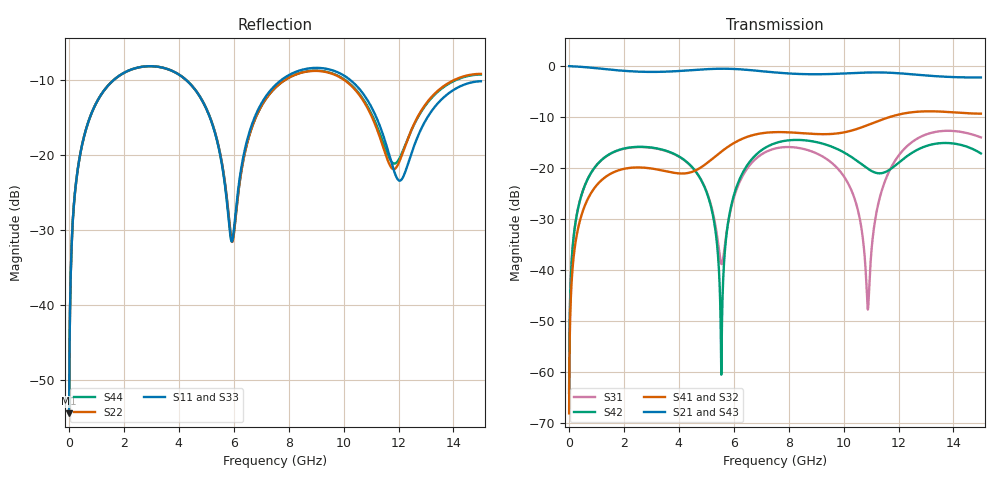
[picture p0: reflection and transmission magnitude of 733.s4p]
! Created with skrf 1.8.0 (http://scikit-rf.org).
# GHz S RI R 50.0
!freq ReS11 ImS11 ReS12 ImS12 ReS13 ImS13
! ReS14 ImS14
! ReS21 ImS21 ReS22 ImS22 ReS23 ImS23
! ReS24 ImS24
! ReS31 ImS31 ReS32 ImS32 ReS33 ImS33
! ReS34 ImS34
! ReS41 ImS41 ReS42 ImS42 ReS43 ImS43
! ReS44 ImS44
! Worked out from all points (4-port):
!   2499 points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, 5 MHz to 15 GHz, reference 50 ohm
!   strongest paths, dB at 5 MHz, 3.476 GHz, 7.19 GHz, 11.1 GHz, 15 GHz:
!     S21: 0.0, -1.1, -1.1, -1.2, -2.2
!     S43: 0.0, -1.1, -1.1, -1.3, -2.2
!     S41: -68.2, -20.6, -13.1, -11.1, -9.3
!     S32: -68.2, -20.6, -13.1, -11.1, -9.4
!     S42: -64.2, -16.5, -15.9, -20.8, -17.2
!     S31: -64.2, -16.6, -16.8, -32.1, -14.0
!   lowest |S11| = -54.4 dB at 5 MHz (marker M1), VSWR 1.00, Z = 50.2 + j0.115 ohm
!   |S11| at or under -10 dB: start of sweep to 1.624 GHz; 4.271 GHz to 7.729 GHz (3.458 GHz wide, 57.6 % of centre); 10.25 GHz to end of sweep
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0.005  0.00151 0.00115  0.9985 -0.00294  7.6e-05 0.000614  -7.38e-05 -0.000382
       0.9985 -0.00294  0.00151 0.00115  -7.38e-05 -0.000382  7.6e-05 0.000614
       7.6e-05 0.000614  -7.38e-05 -0.000382  0.00151 0.00115  0.9985 -0.00294
       -7.38e-05 -0.000382  7.6e-05 0.000614  0.9985 -0.00294  0.00151 0.00115
1.569404  0.2485 0.1849  0.5944 -0.7018  0.122 0.0698  -0.0882 -0.0135
          0.5944 -0.7018  0.2482 0.1851  -0.0881 -0.0136  0.1233 0.0683
          0.122 0.0698  -0.0881 -0.0136  0.2487 0.1848  0.5943 -0.7018
          -0.0882 -0.0135  0.1233 0.0683  0.5943 -0.7018  0.2481 0.1852
5.546061  0.0424 -0.081  -0.9029 -0.2704  -0.0111 -0.00254  -0.0359 0.1399
          -0.9029 -0.2704  0.043 -0.0827  -0.0382 0.1393  0.000926 -0.000114
          -0.0111 -0.00254  -0.0382 0.1393  0.0418 -0.0816  -0.9029 -0.2702
          -0.0359 0.1399  0.000926 -0.000114  -0.9029 -0.2702  0.0438 -0.0828
6.421426  0.0592 0.0955  -0.9031 0.1852  0.0349 0.0857  0.0561 0.1907
          -0.9031 0.1852  0.0565 0.0909  0.0531 0.1914  0.06 0.0793
          0.0349 0.0857  0.0531 0.1914  0.0588 0.0959  -0.903 0.1856
          0.0561 0.1907  0.06 0.0793  -0.903 0.1856  0.057 0.0905
9.272614  0.3756 -0.0498  0.029 0.8324  0.1163 -0.053  0.2042 -0.0655
          0.029 0.8324  0.359 -0.0337  0.2043 -0.0598  0.1154 -0.1277
          0.1163 -0.053  0.2043 -0.0598  0.3787 -0.0521  0.0296 0.8313
          0.2042 -0.0655  0.1154 -0.1277  0.0296 0.8313  0.361 -0.032
10.88579  0.1622 -0.1629  0.6529 0.5674  -0.00386 -0.00127  0.1647 -0.2062
          0.6529 0.5674  0.1578 -0.1291  0.1713 -0.2004  -0.0706 -0.0681
          -0.00386 -0.00127  0.1713 -0.2004  0.1624 -0.1689  0.6519 0.5667
          0.1647 -0.2062  -0.0706 -0.0681  0.6519 0.5667  0.1646 -0.1298
15  0.3106 0.0115  0.1366 -0.7612  0.1417 -0.1404  -0.3413 0.00143
    0.1366 -0.7612  0.3479 -0.0018  -0.3402 -0.0115  0.1196 -0.0703
    0.1417 -0.1404  -0.3402 -0.0115  0.3089 0.0146  0.1339 -0.7626
    -0.3413 0.00143  0.1196 -0.0703  0.1339 -0.7626  0.3441 -0.00972
